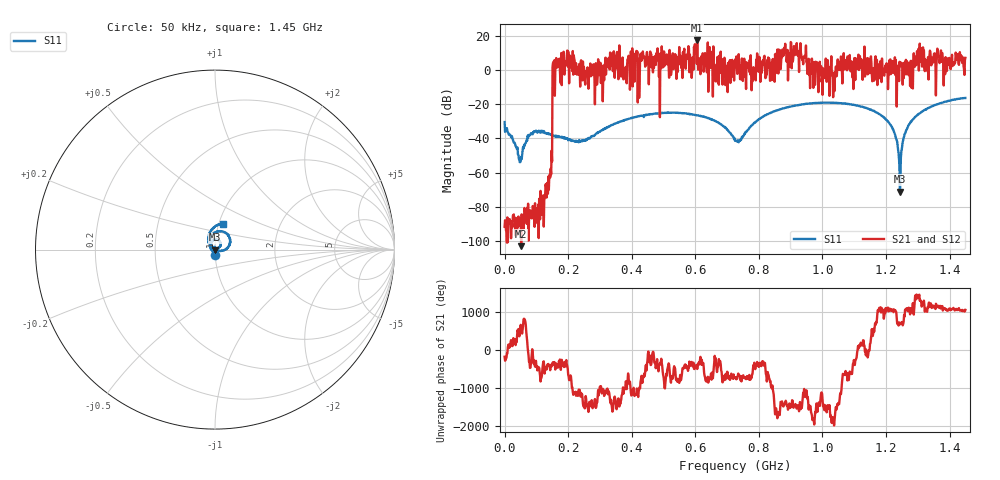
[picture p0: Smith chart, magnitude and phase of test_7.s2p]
! Created with skrf 1.11.0 (http://scikit-rf.org).
# Hz S RI R 50.0
!freq ReS11 ImS11 ReS21 ImS21 ReS12 ImS12 ReS22 ImS22
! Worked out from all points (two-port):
!   1001 points, 50 kHz to 1.45 GHz, reference 50 ohm
!   highest |S21| = 17.22 dB at 606.1 MHz (marker M1); lowest = -103.0 dB at 52.25 MHz (marker M2)
!   |S21| within 3 dB of the highest: 361.0701 MHz to 361.1076 MHz (37.5 kHz wide, 0.0104 % of centre); 900.1972 MHz to 902.0822 MHz (1.885 MHz wide, 0.209 % of centre) (the widest 2 of 11)
!   lowest |S11| = -71.1 dB at 1.244 GHz (marker M3), VSWR 1.00, Z = 50 - j0.0249 ohm
!   |S11| at or under -10 dB: start of sweep to end of sweep
!   |S22| runs from - to - dB; largest |S21 - S12| = 0
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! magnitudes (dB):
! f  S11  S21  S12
! 50 kHz  -30.5  -91.6  -91.6
! 52.25 MHz  -50.9  -103.0  -103.0
! 79.8 MHz  -38.1  -82.1  -82.1
! 117.5 MHz  -35.5  -84.7  -84.7
! 139.2 MHz  -37.2  -70.0  -70.0
! 142.1 MHz  -37.4  -61.3  -61.3
! 158.1 MHz  -38.5  -15.1  -15.1
! 242.2 MHz  -41.5  -2.7  -2.7
! 484.3 MHz  -25.3  8.4  8.4
! 606.1 MHz  -26.6  17.2  17.2
! 667 MHz  -30.3  3.3  3.3
! 725 MHz  -41.3  2.9  2.9
! 842.5 MHz  -24.6  3.5  3.5
! 878.7 MHz  -22.4  10.6  10.6
! 917.9 MHz  -20.8  12.4  12.4
! 967.2 MHz  -19.6  6.6  6.6
! 1.038 GHz  -19.2  -12.3  -12.3
! 1.209 GHz  -30.8  -3.0  -3.0
! 1.244 GHz  -71.1  2.2  2.2
! 1.263 GHz  -35.7  5.9  5.9
! 1.295 GHz  -27.0  7.8  7.8
! 1.45 GHz  -16.4  7.1  7.1
